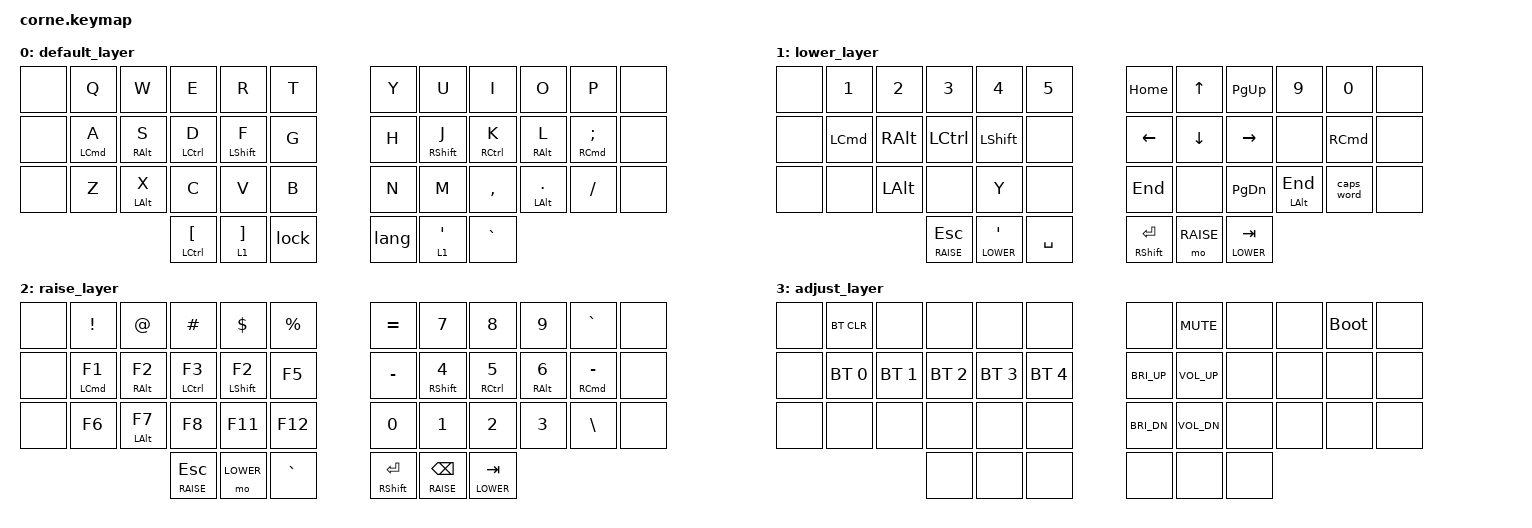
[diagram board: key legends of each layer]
/*
 * Copyright (c) 2020 The ZMK Contributors
 *
 * SPDX-License-Identifier: MIT
 *
 */

#include <behaviors.dtsi>
#include <dt-bindings/zmk/keys.h>
#include <dt-bindings/zmk/bt.h>

#define DEFAULT 0
#define LOWER   1
#define RAISE   2
#define ADJUST  3
#define LWR LOWER
#define RSE RAISE
#define ADJ ADJUST

&mt {
    quick-tap-ms = <180>;
    tapping-term-ms = <250>;
};

&lt {
    quick_tap_ms = <200>;
    tapping-term-ms = <180>;
};

/ {
    behaviors {
        //                 Key positions
        //       0  1  2  3  4  5    6  7  8  9 10 11
        //      12 13 14 15 16 17   18 19 20 21 22 23
        //      24 25 26 27 28 29   30 31 32 33 34 35
        //               36 37 38   39 40 41

        hml: homerow_mods_left {
            compatible = "zmk,behavior-hold-tap";
            label = "HOMEROW_MODS_LEFT";
            #binding-cells = <2>;
            flavor = "tap-preferred";
            tapping-term-ms = <250>;
            quick-tap-ms = <180>;
            bindings =
                <&kp>,
                <&kp>;

            hold-trigger-key-positions = <
                                         6  7  8  9 10
                       13 14 15 16      18 19 20 21 22
                          26            30 31 32 33 34
                             36 37 38   39 40 41
            >;

            // <---[[right-hand keys + all homerow mods + all thumbs]]
        };
        hmr: homerow_mods_right {
            compatible = "zmk,behavior-hold-tap";
            label = "HOMEROW_MODS_RIGHT";
            #binding-cells = <2>;
            flavor = "tap-preferred";
            tapping-term-ms = <250>;
            quick-tap-ms = <180>;
            bindings =
                <&kp>,
                <&kp>;

            hold-trigger-key-positions = <
                        1  2  3  4  5
                       13 14 15 16 17      19 20 21 22
                       25 26 27 28 29            33
                             36 37 38   39 40 41
            >;

            // <---[[left-hand keys + all homerow mods + all thumbs]]
        };
        lock: lock {
            compatible = "zmk,behavior-tap-dance";
            label = "LOCK";
            #binding-cells = <0>;
            bindings =
                <&lt 2 SPACE>,
                <&kp K_LOCK>;

            tapping-term-ms = <200>;
        };
        lang: lang {
            compatible = "zmk,behavior-tap-dance";
            label = "LANG";
            #binding-cells = <0>;
            bindings =
                <&lt 2 ENTER>,
                <&lang_m>;
        };
    };

    combos {
        compatible = "zmk,combos";

        esc {
            bindings = <&kp ESC>;
            key-positions = <1 13>;
        };

        tab {
            bindings = <&kp TAB>;
            key-positions = <25 13>;
        };

        backspase {
            bindings = <&kp BACKSPACE>;
            key-positions = <10 22>;
        };

        del {
            bindings = <&kp DEL>;
            key-positions = <22 34>;
        };
    };

    conditional_layers {
        compatible = "zmk,conditional-layers";

        tri_layer {
            if-layers = <LOWER RAISE>;
            then-layer = <ADJUST>;
        };
    };

    macros {
        lang_m: lang_m {
            compatible = "zmk,behavior-macro";
            label = "LANG_M";
            #binding-cells = <0>;
            bindings =
                <&macro_press>,
                <&kp LEFT_GUI>,
                <&macro_tap>,
                <&kp SPACE>,
                <&macro_release>,
                <&kp LGUI>;
        };
    };

    keymap {
        compatible = "zmk,keymap";

        default_layer {
            bindings = <
&none        &kp Q        &kp W           &kp E         &kp R  &kp T    &kp Y             &kp U         &kp I          &kp O           &kp P  &none
&none  &hml LCMD A  &hml RALT S    &hml LCTRL D  &hml LSHFT F  &kp G    &kp H      &hmr RSHFT J  &hmr RCTRL K    &hmr RALT L  &hmr RCMD SEMI  &none
&none        &kp Z  &hml LALT X           &kp C         &kp V  &kp B    &kp N             &kp M     &kp COMMA  &hmr LALT DOT        &kp FSLH  &none
                                 &mt LCTRL LBKT    &lt 1 RBKT  &lock    &lang  &lt 1 APOSTROPHE     &kp GRAVE
            >;
        };

        lower_layer {
            bindings = <
&none    &kp N1    &kp N2       &kp N3        &kp N4     &kp N5         &kp HOME    &kp UP    &kp PG_UP         &kp N9      &kp N0  &none
&none  &kp LCMD  &kp RALT    &kp LCTRL     &kp LSHFT      &none         &kp LEFT  &kp DOWN    &kp RIGHT          &none    &kp RCMD  &none
&none     &none  &kp LALT        &none         &kp Y      &none          &kp END     &none    &kp PG_DN  &hmr LALT END  &caps_word  &none
                           &lt RSE ESC  &lt LWR QUOT  &kp SPACE    &mt RSHFT RET   &mo RSE  &lt LWR TAB
            >;
        };

        raise_layer {
            bindings = <
&none      &kp EXCL        &kp AT       &kp HASH       &kp DLLR  &kp PRCNT        &kp EQUAL         &kp NUMBER_7         &kp NUMBER_8        &kp NUMBER_9        &kp GRAVE  &none
&none  &hml LCMD F1  &hml RALT F2  &hml LCTRL F3  &hml LSHFT F2     &kp F5        &kp MINUS  &hmr RSHFT NUMBER_4  &hmr RCTRL NUMBER_5  &hmr RALT NUMBER_6  &hmr RCMD MINUS  &none
&none        &kp F6  &hml LALT F7         &kp F8        &kp F11    &kp F12     &kp NUMBER_0         &kp NUMBER_1         &kp NUMBER_2        &kp NUMBER_3         &kp BSLH  &none
                                     &lt RSE ESC        &mo LWR  &kp GRAVE    &mt RSHFT RET         &lt RSE BSPC          &lt LWR TAB
            >;
        };

        adjust_layer {
            bindings = <
&none    &bt BT_CLR         &none         &none         &none         &none           &none    &kp K_MUTE  &none  &none  &bootloader  &none
&none  &bt BT_SEL 0  &bt BT_SEL 1  &bt BT_SEL 2  &bt BT_SEL 3  &bt BT_SEL 4    &kp C_BRI_UP  &kp C_VOL_UP  &none  &none        &none  &none
&none         &none         &none         &none         &none         &none    &kp C_BRI_DN  &kp C_VOL_DN  &none  &none        &none  &none
                                          &none         &none         &none           &none         &none  &none
            >;
        };
    };
};
